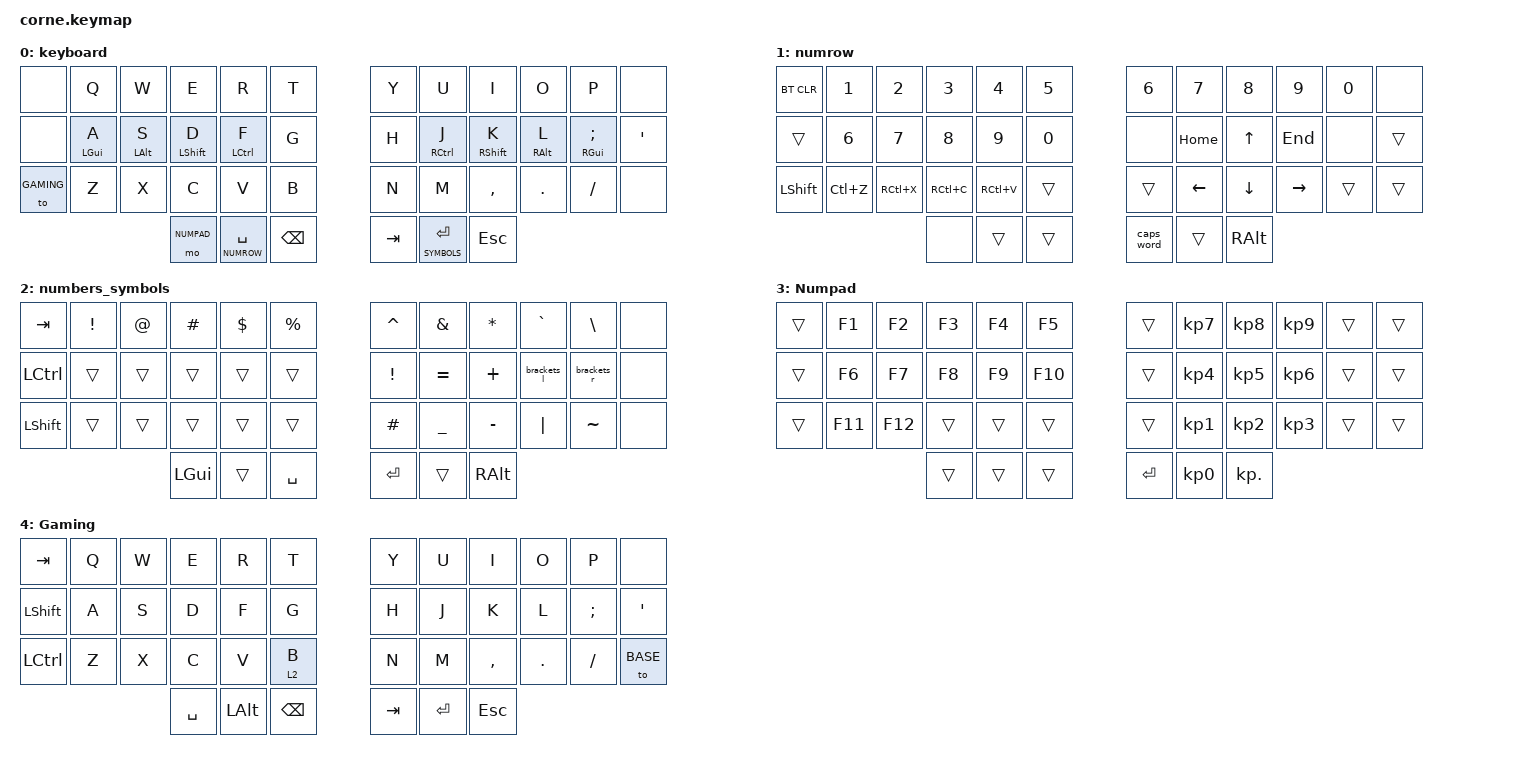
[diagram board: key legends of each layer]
/*
 * Copyright (c) 2020 The ZMK Contributors
 *
 * SPDX-License-Identifier: MIT
 */

#include <behaviors.dtsi>
#include <dt-bindings/zmk/bt.h>
#include <dt-bindings/zmk/keys.h>

#define BASE     0
#define NUMROW   1
#define SYMBOLS  2
#define NUMPAD   3
#define GAMING   4

/ {
    behaviors {
        rpi: require_prior_idle {
            compatible = "zmk,behavior-hold-tap";
            #binding-cells = <2>;
            flavor = "tap-preferred";
            tapping-term-ms = <200>;
            quick-tap-ms = <200>;
            require-prior-idle-ms = <125>;
            bindings = <&kp>, <&kp>;
        };

        hrm_l: hrm_l {
            compatible = "zmk,behavior-hold-tap";
            label = "HRM_L";
            bindings = <&kp>, <&kp>;

            #binding-cells = <2>;
            tapping-term-ms = <200>;
            flavor = "balanced";
            hold-trigger-key-positions = <6 7 8 9 10 11 18 19 20 21 22 23 30 31 32 33 34 35 39 40 41 16 15 14 13>;
            retro-tap;
        };

        hrm_r: hrm_r {
            compatible = "zmk,behavior-hold-tap";
            label = "HRM_R";
            bindings = <&kp>, <&kp>;

            #binding-cells = <2>;
            tapping-term-ms = <200>;
            flavor = "balanced";
            retro-tap;
            hold-trigger-key-positions = <0 1 2 3 4 5 12 13 14 15 16 17 24 25 26 27 28 29 36 37 38 19 21 20 22>;
        };

        brackets_l: brackets_l {
            compatible = "zmk,behavior-tap-dance";
            label = "BRACKETS_L";
            #binding-cells = <0>;
            bindings =
                <&kp LEFT_PARENTHESIS>,
                <&kp LEFT_BRACE>,
                <&kp LEFT_BRACKET>;
        };

        brackets_r: brackets_r {
            compatible = "zmk,behavior-tap-dance";
            label = "BRACKETS_R";
            #binding-cells = <0>;
            bindings = <&kp RPAR>, <&kp RBRC>, <&kp RIGHT_BRACKET>;
        };
    };

    keymap {
        compatible = "zmk,keymap";

        keyboard {
            bindings = <
&none       &kp Q          &kp W          &kp E           &kp R             &kp T       &kp Y    &kp U              &kp I           &kp O          &kp P             &none
&none       &hrm_l LGUI A  &hrm_l LALT S  &hrm_l LSHFT D  &hrm_l LCTRL F    &kp G       &kp H    &hrm_r RCTRL J     &hrm_r RSHFT K  &hrm_r RALT L  &hrm_r RGUI SEMI  &kp SQT
&to GAMING  &kp Z          &kp X          &kp C           &kp V             &kp B       &kp N    &kp M              &kp COMMA       &kp DOT        &kp FSLH          &none
                                          &mo NUMPAD      &lt NUMROW SPACE  &kp BSPC    &kp TAB  &lt SYMBOLS ENTER  &kp ESCAPE
            >;
        };

        numrow {
            bindings = <
&bt BT_CLR  &kp N1        &kp N2     &kp N3     &kp N4     &kp N5    &kp N6      &kp N7    &kp N8    &kp N9     &kp N0  &none
&trans      &kp NUMBER_6  &kp N7     &kp N8     &kp N9     &kp N0    &none       &kp HOME  &kp UP    &kp END    &none   &trans
&kp LSHFT   &kp LC(Z)     &kp RC(X)  &kp RC(C)  &kp RC(V)  &trans    &trans      &kp LEFT  &kp DOWN  &kp RIGHT  &trans  &trans
                                     &none      &trans     &trans    &caps_word  &trans    &kp RALT
            >;
        };

        numbers_symbols {
            bindings = <
&kp TAB    &kp EXCL  &kp AT  &kp HASH  &kp DLLR  &kp PRCNT    &kp CARET  &kp AMPS        &kp ASTRK  &kp GRAVE    &kp BACKSLASH  &none
&kp LCTRL  &trans    &trans  &trans    &trans    &trans       &kp EXCL   &kp EQUAL       &kp PLUS   &brackets_l  &brackets_r    &none
&kp LSHFT  &trans    &trans  &trans    &trans    &trans       &kp POUND  &kp UNDERSCORE  &kp MINUS  &kp PIPE     &kp TILDE      &none
                             &kp LGUI  &trans    &kp SPACE    &kp RET    &trans          &kp RALT
            >;
        };

        Numpad {
            bindings = <
&trans  &kp F1   &kp F2   &kp F3  &kp F4  &kp F5     &trans     &kp KP_N7  &kp KP_N8   &kp KP_N9  &trans  &trans
&trans  &kp F6   &kp F7   &kp F8  &kp F9  &kp F10    &trans     &kp KP_N4  &kp KP_N5   &kp KP_N6  &trans  &trans
&trans  &kp F11  &kp F12  &trans  &trans  &trans     &trans     &kp KP_N1  &kp KP_N2   &kp KP_N3  &trans  &trans
                          &trans  &trans  &trans     &kp ENTER  &kp KP_N0  &kp KP_DOT
            >;
        };

        Gaming {
            bindings = <
&kp TAB    &kp Q  &kp W  &kp E      &kp R     &kp T            &kp Y    &kp U      &kp I       &kp O    &kp P     &none
&kp LSHFT  &kp A  &kp S  &kp D      &kp F     &kp G            &kp H    &kp J      &kp K       &kp L    &kp SEMI  &kp SQT
&kp LCTRL  &kp Z  &kp X  &kp C      &kp V     &lt 2 B          &kp N    &kp M      &kp COMMA   &kp DOT  &kp FSLH  &to BASE
                         &kp SPACE  &kp LALT  &kp BACKSPACE    &kp TAB  &kp ENTER  &kp ESCAPE
            >;
        };
    };
};
